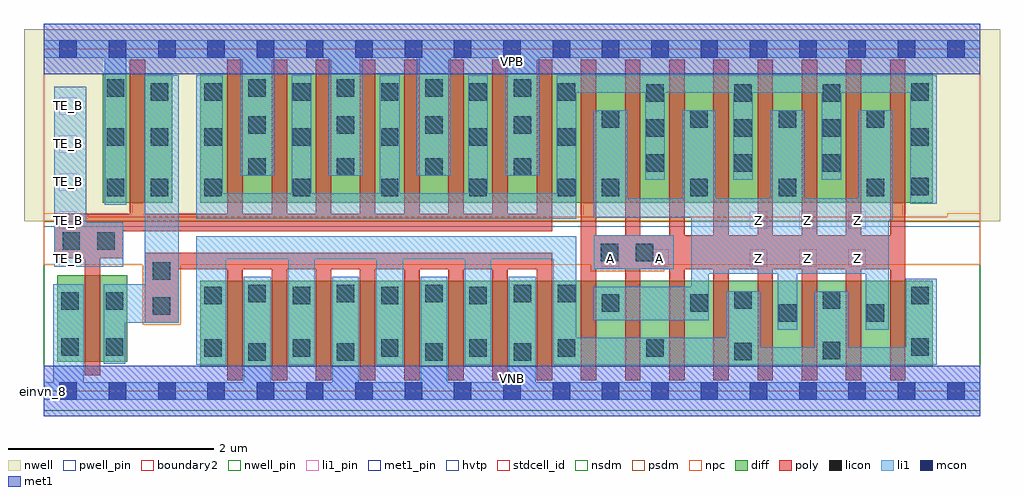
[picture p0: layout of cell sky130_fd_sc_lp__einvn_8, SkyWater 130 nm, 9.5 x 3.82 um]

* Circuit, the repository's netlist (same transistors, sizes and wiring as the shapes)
* Copyright 2020 The SkyWater PDK Authors
*
* Licensed under the Apache License, Version 2.0 (the "License");
* you may not use this file except in compliance with the License.
* You may obtain a copy of the License at
*
*     https://www.apache.org/licenses/LICENSE-2.0
*
* Unless required by applicable law or agreed to in writing, software
* distributed under the License is distributed on an "AS IS" BASIS,
* WITHOUT WARRANTIES OR CONDITIONS OF ANY KIND, either express or implied.
* See the License for the specific language governing permissions and
* limitations under the License.
*
* SPDX-License-Identifier: Apache-2.0

.SUBCKT sky130_fd_sc_lp__einvn_8 A TE_B VGND VNB VPB VPWR Z
*.PININFO A:I TE_B:I VGND:I VNB:I VPB:I VPWR:I Z:O
MMN0 Z A sndA VNB sky130_fd_pr__nfet_01v8 m=8 w=0.84U l=0.15U mult=1 sa=0.265 sb=0.265
+ sd=0.28 area=0.063 perim=1.14
MMN1 sndA TE VGND VNB sky130_fd_pr__nfet_01v8 m=8 w=0.84U l=0.15U mult=1 sa=0.265
+ sb=0.265 sd=0.28 area=0.063 perim=1.14
MMIN1 TE TE_B VGND VNB sky130_fd_pr__nfet_01v8 m=1 w=0.84U l=0.15U mult=1 sa=0.265
+ sb=0.265 sd=0.28 area=0.063 perim=1.14
MMP0 VPWR TE_B sndTEB VPB sky130_fd_pr__pfet_01v8_hvt m=8 w=1.26U l=0.15U mult=1
+ sa=0.265 sb=0.265 sd=0.28 area=0.063 perim=1.14
MMP1 sndTEB A Z VPB sky130_fd_pr__pfet_01v8_hvt m=8 w=1.26U l=0.15U mult=1 sa=0.265
+ sb=0.265 sd=0.28 area=0.063 perim=1.14
MMIP1 TE TE_B VPWR VPB sky130_fd_pr__pfet_01v8_hvt m=1 w=1.26U l=0.15U mult=1 sa=0.265
+ sb=0.265 sd=0.28 area=0.063 perim=1.14
.ENDS sky130_fd_sc_lp__einvn_8

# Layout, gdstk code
import gdstk
lib = gdstk.Library(unit=1e-6, precision=1e-09)
def R(c, l, rs):  # rectangles x0, y0, x1, y1
    for r in rs: c.add(gdstk.rectangle(r[:2], r[2:], *l))
def A(c, l, x, y, w, h, nx, ny, dx, dy):  # array of equal rectangles
    R(c, l, [(x+i*dx, y+j*dy, x+i*dx+w, y+j*dy+h) for i in range(nx) for j in range(ny)])
def P(c, l, *ps):  # polygons
    for p in ps: c.add(gdstk.Polygon(p, *l))
nwell_pin = (64, 16)
nwell = (64, 20)
diff = (65, 20)
poly = (66, 20)
licon = (66, 44)
li1_pin = (67, 16)
li1 = (67, 20)
mcon = (67, 44)
met1_pin = (68, 16)
met1 = (68, 20)
hvtp = (78, 44)
stdcell_id = (81, 4)
nsdm = (93, 44)
psdm = (94, 20)
npc = (95, 20)
pwell_pin = (122, 16)
boundary2 = (236, 0)

sky130_fd_sc_lp__einvn_8 = lib.new_cell('sky130_fd_sc_lp__einvn_8')
R(sky130_fd_sc_lp__einvn_8, nwell_pin, [(0,3.085,9.12,3.33)])
R(sky130_fd_sc_lp__einvn_8, nwell, [(-0.19,1.655,9.31,3.52)])
R(sky130_fd_sc_lp__einvn_8, diff, [(1.525,0.235,8.655,1.075), (0.135,0.285,0.815,1.125), (0.575,1.835,1.255,3.095), (1.525,1.835,8.655,3.095)])
P(sky130_fd_sc_lp__einvn_8, poly, [(4.95,3.225),(4.8,3.225),(4.8,1.725),(4.52,1.725),(4.52,3.225),(4.37,3.225),(4.37,1.725),(4.09,1.725),(4.09,3.225),(3.94,3.225),(3.94,1.725),(3.66,1.725),(3.66,3.225),(3.51,3.225),(3.51,1.725),(3.23,1.725),(3.23,3.225),(3.08,3.225),(3.08,1.725),(2.8,1.725),(2.8,3.225),(2.65,3.225),(2.65,1.725),(2.37,1.725),(2.37,3.225),(2.22,3.225),(2.22,1.725),(1.94,1.725),(1.94,3.225),(1.79,3.225),(1.79,1.725),(0.99,1.725),(0.99,3.225),(0.84,3.225),(0.84,1.725),(0.105,1.725),(0.105,1.295),(0.4,1.295),(0.4,0.155),(0.55,0.155),(0.55,1.295),(0.775,1.295),(0.775,1.555),(4.95,1.555)],
  [(4.95,1.345),(0.985,1.345),(0.985,0.665),(1.315,0.665),(1.315,1.185),(1.79,1.185),(1.79,0.105),(1.94,0.105),(1.94,1.185),(2.22,1.185),(2.22,0.105),(2.37,0.105),(2.37,1.185),(2.65,1.185),(2.65,0.105),(2.8,0.105),(2.8,1.185),(3.08,1.185),(3.08,0.105),(3.23,0.105),(3.23,1.185),(3.51,1.185),(3.51,0.105),(3.66,0.105),(3.66,1.185),(3.94,1.185),(3.94,0.105),(4.09,0.105),(4.09,1.185),(4.37,1.185),(4.37,0.105),(4.52,0.105),(4.52,1.185),(4.8,1.185),(4.8,0.105),(4.95,0.105)],
  [(8.39,3.225),(8.24,3.225),(8.24,1.515),(7.96,1.515),(7.96,3.225),(7.81,3.225),(7.81,1.515),(7.53,1.515),(7.53,3.225),(7.38,3.225),(7.38,1.515),(7.1,1.515),(7.1,3.225),(6.95,3.225),(6.95,1.515),(6.67,1.515),(6.67,3.225),(6.52,3.225),(6.52,1.515),(6.24,1.515),(6.24,3.225),(6.09,3.225),(6.09,1.515),(5.81,1.515),(5.81,3.225),(5.66,3.225),(5.66,1.515),(5.38,1.515),(5.38,3.225),(5.23,3.225),(5.23,0.105),(5.38,0.105),(5.38,1.185),(5.66,1.185),(5.66,0.105),(5.81,0.105),(5.81,1.185),(6.09,1.185),(6.09,0.105),(6.24,0.105),(6.24,1.185),(6.52,1.185),(6.52,0.105),(6.67,0.105),(6.67,1.185),(6.95,1.185),(6.95,0.105),(7.1,0.105),(7.1,1.185),(7.38,1.185),(7.38,0.105),(7.53,0.105),(7.53,1.185),(7.81,1.185),(7.81,0.105),(7.96,0.105),(7.96,1.185),(8.24,1.185),(8.24,0.105),(8.39,0.105)])
A(sky130_fd_sc_lp__einvn_8, licon, 1.995, 0.295, 0.17, 0.17, 4, 2, 0.86, 0.57)
A(sky130_fd_sc_lp__einvn_8, licon, 1.565, 0.335, 0.17, 0.17, 6, 1, 0.86, 0)
A(sky130_fd_sc_lp__einvn_8, licon, 1.565, 0.845, 0.17, 0.17, 4, 1, 0.86, 0)
A(sky130_fd_sc_lp__einvn_8, licon, 1.565, 1.895, 0.17, 0.17, 5, 2, 0.86, 0.495)
A(sky130_fd_sc_lp__einvn_8, licon, 5.435, 1.895, 0.17, 0.17, 4, 2, 0.86, 0.67)
A(sky130_fd_sc_lp__einvn_8, licon, 1.995, 2.095, 0.17, 0.17, 4, 2, 0.86, 0.41)
A(sky130_fd_sc_lp__einvn_8, licon, 5.865, 2.135, 0.17, 0.17, 3, 3, 0.86, 0.34)
A(sky130_fd_sc_lp__einvn_8, licon, 1.565, 2.825, 0.17, 0.17, 5, 1, 0.86, 0)
A(sky130_fd_sc_lp__einvn_8, licon, 1.995, 2.865, 0.17, 0.17, 4, 1, 0.86, 0)
R(sky130_fd_sc_lp__einvn_8, licon, [(6.725,0.3,6.895,0.47), (7.585,0.31,7.755,0.48), (0.175,0.345,0.345,0.515), (0.605,0.345,0.775,0.515), (8.445,0.345,8.615,0.515), (7.155,0.675,7.325,0.845), (8.015,0.675,8.185,0.845), (1.065,0.745,1.235,0.915), (5.435,0.77,5.605,0.94), (6.295,0.77,6.465,0.94), (0.175,0.79,0.345,0.96), (0.605,0.79,0.775,0.96), (6.725,0.8,6.895,0.97), (7.585,0.8,7.755,0.97), (8.445,0.845,8.615,1.015), (5.005,0.865,5.175,1.035), (1.065,1.085,1.235,1.255), (5.425,1.265,5.595,1.435), (5.765,1.265,5.935,1.435), (0.185,1.375,0.355,1.545), (0.525,1.375,0.695,1.545), (0.615,1.895,0.785,2.065), (1.045,1.895,1.215,2.065), (8.445,1.905,8.615,2.075), (0.615,2.39,0.785,2.56), (1.045,2.39,1.215,2.56), (8.445,2.39,8.615,2.56), (1.045,2.825,1.215,2.995), (8.445,2.825,8.615,2.995), (0.615,2.865,0.785,3.035)])
A(sky130_fd_sc_lp__einvn_8, li1_pin, 0.155, 1.21, 0.17, 0.17, 1, 5, 0, 0.37)
A(sky130_fd_sc_lp__einvn_8, li1_pin, 6.875, 1.21, 0.17, 0.17, 3, 2, 0.48, 0.37)
R(sky130_fd_sc_lp__einvn_8, li1_pin, [(5.435,1.21,5.605,1.38), (5.915,1.21,6.085,1.38)])
R(sky130_fd_sc_lp__einvn_8, li1, [(5.355,1.185,6.135,1.515)])
P(sky130_fd_sc_lp__einvn_8, li1, [(0.775,1.645),(0.415,1.645),(0.415,2.96),(0.105,2.96),(0.105,1.21),(0.775,1.21)],
  [(1.315,3.075),(0.985,3.075),(0.985,1.04),(0.585,1.04),(0.585,0.265),(0.795,0.265),(0.795,0.665),(1.315,0.665)],
  [(8.265,2.735),(7.935,2.735),(7.935,1.875),(7.405,1.875),(7.405,2.735),(7.075,2.735),(7.075,1.875),(6.545,1.875),(6.545,2.735),(6.215,2.735),(6.215,1.875),(5.685,1.875),(5.685,2.735),(5.355,2.735),(5.355,1.685),(6.305,1.685),(6.305,1.015),(5.355,1.015),(5.355,0.69),(6.475,0.69),(6.475,1.14),(7.145,1.14),(7.145,0.595),(7.335,0.595),(7.335,1.14),(8.005,1.14),(8.005,0.595),(8.225,0.595),(8.225,1.665),(8.265,1.665)],
  [(8.695,3.075),(4.995,3.075),(4.995,1.925),(4.325,1.925),(4.325,3.075),(4.135,3.075),(4.135,1.925),(3.465,1.925),(3.465,3.075),(3.275,3.075),(3.275,1.925),(2.605,1.925),(2.605,3.075),(2.415,3.075),(2.415,1.925),(1.745,1.925),(1.745,3.075),(1.485,3.075),(1.485,1.675),(5.185,1.675),(5.185,2.905),(5.855,2.905),(5.855,2.055),(6.045,2.055),(6.045,2.905),(6.715,2.905),(6.715,2.055),(6.905,2.055),(6.905,2.905),(7.575,2.905),(7.575,2.055),(7.765,2.055),(7.765,2.905),(8.435,2.905),(8.435,1.825),(8.695,1.825)],
  [(8.695,1.095),(8.395,1.095),(8.395,0.425),(7.835,0.425),(7.835,0.97),(7.505,0.97),(7.505,0.425),(6.975,0.425),(6.975,0.97),(6.645,0.97),(6.645,0.52),(5.185,0.52),(5.185,1.505),(1.485,1.505),(1.485,0.255),(1.78,0.255),(1.78,1.285),(2.38,1.285),(2.38,0.255),(2.64,0.255),(2.64,1.285),(3.24,1.285),(3.24,0.255),(3.5,0.255),(3.5,1.285),(4.1,1.285),(4.1,0.255),(4.36,0.255),(4.36,1.285),(4.96,1.285),(4.96,0.255),(8.695,0.255)],
  [(9.12,3.415),(0,3.415),(0,3.245),(0.595,3.245),(0.595,1.815),(0.805,1.815),(0.805,3.245),(1.915,3.245),(1.915,2.095),(2.245,2.095),(2.245,3.245),(2.775,3.245),(2.775,2.095),(3.105,2.095),(3.105,3.245),(3.635,3.245),(3.635,2.095),(3.965,2.095),(3.965,3.245),(4.495,3.245),(4.495,2.095),(4.825,2.095),(4.825,3.245),(9.12,3.245)],
  [(9.12,0.085),(4.79,0.085),(4.79,1.115),(4.53,1.115),(4.53,0.085),(3.93,0.085),(3.93,1.115),(3.67,1.115),(3.67,0.085),(3.07,0.085),(3.07,1.115),(2.81,1.115),(2.81,0.085),(2.21,0.085),(2.21,1.115),(1.95,1.115),(1.95,0.085),(0.39,0.085),(0.39,1.04),(0.095,1.04),(0.095,0.085),(0,0.085),(0,-0.085),(9.12,-0.085)])
A(sky130_fd_sc_lp__einvn_8, mcon, 0.155, -0.085, 0.17, 0.17, 19, 2, 0.48, 3.33)
R(sky130_fd_sc_lp__einvn_8, met1_pin, [(0,0,9.12,0.245), (0,3.085,9.12,3.33)])
R(sky130_fd_sc_lp__einvn_8, met1, [(0,-0.245,9.12,0.245), (0,3.085,9.12,3.575)])
R(sky130_fd_sc_lp__einvn_8, hvtp, [(0,1.6,9.12,3.33)])
R(sky130_fd_sc_lp__einvn_8, stdcell_id, [(0,0,9.12,3.33)])
R(sky130_fd_sc_lp__einvn_8, nsdm, [(0,-0.19,9.12,1.655)])
R(sky130_fd_sc_lp__einvn_8, psdm, [(0,1.655,9.12,3.52)])
P(sky130_fd_sc_lp__einvn_8, npc, [(9.12,1.73),(8.795,1.73),(8.795,1.695),(0.435,1.695),(0.435,1.73),(0,1.73),(0,1.23),(0.965,1.23),(0.965,0.645),(1.335,0.645),(1.335,1.23),(5.325,1.23),(5.325,1.165),(6.04,1.165),(6.04,1.23),(9.12,1.23)])
R(sky130_fd_sc_lp__einvn_8, pwell_pin, [(0,0,9.12,0.245)])
R(sky130_fd_sc_lp__einvn_8, boundary2, [(0,0,9.12,3.33)])
sky130_fd_sc_lp__einvn_8.add(gdstk.Label('VNB', (4.56,0.123), layer=64, texttype=59))
sky130_fd_sc_lp__einvn_8.add(gdstk.Label('VPB', (4.56,3.208), layer=64, texttype=5))
sky130_fd_sc_lp__einvn_8.add(gdstk.Label('einvn_8', (0,0), layer=83, texttype=44))
sky130_fd_sc_lp__einvn_8.add(gdstk.Label('VPWR', (4.56,3.208), layer=68, texttype=5))
sky130_fd_sc_lp__einvn_8.add(gdstk.Label('VGND', (4.56,0.123), layer=68, texttype=5))
sky130_fd_sc_lp__einvn_8.add(gdstk.Label('TE_B', (0.24,1.295), layer=67, texttype=5))
sky130_fd_sc_lp__einvn_8.add(gdstk.Label('TE_B', (0.24,1.665), layer=67, texttype=5))
sky130_fd_sc_lp__einvn_8.add(gdstk.Label('TE_B', (0.24,2.035), layer=67, texttype=5))
sky130_fd_sc_lp__einvn_8.add(gdstk.Label('TE_B', (0.24,2.405), layer=67, texttype=5))
sky130_fd_sc_lp__einvn_8.add(gdstk.Label('TE_B', (0.24,2.775), layer=67, texttype=5))
sky130_fd_sc_lp__einvn_8.add(gdstk.Label('A', (6,1.295), layer=67, texttype=5))
sky130_fd_sc_lp__einvn_8.add(gdstk.Label('Z', (7.44,1.295), layer=67, texttype=5))
sky130_fd_sc_lp__einvn_8.add(gdstk.Label('Z', (7.44,1.665), layer=67, texttype=5))
sky130_fd_sc_lp__einvn_8.add(gdstk.Label('Z', (6.96,1.665), layer=67, texttype=5))
sky130_fd_sc_lp__einvn_8.add(gdstk.Label('Z', (7.92,1.295), layer=67, texttype=5))
sky130_fd_sc_lp__einvn_8.add(gdstk.Label('Z', (7.92,1.665), layer=67, texttype=5))
sky130_fd_sc_lp__einvn_8.add(gdstk.Label('Z', (6.96,1.295), layer=67, texttype=5))
sky130_fd_sc_lp__einvn_8.add(gdstk.Label('A', (5.52,1.295), layer=67, texttype=5))

lib.write_gds('sky130_fd_sc_lp__einvn_8.gds')
